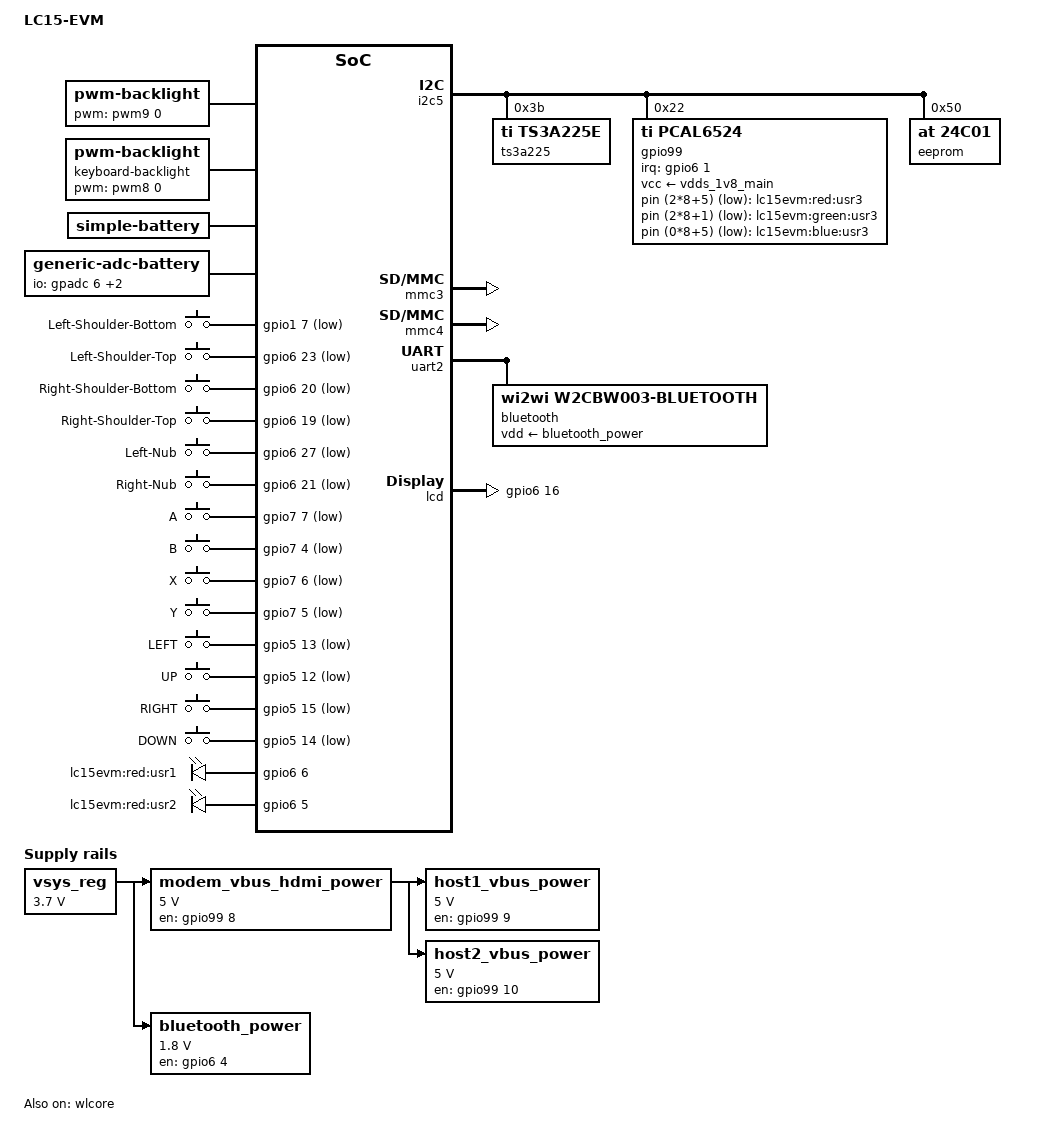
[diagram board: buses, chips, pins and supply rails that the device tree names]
/*
 * Copyright (C) 2018 Golden Delicious Computers - http://www.goldelico.com/
 *
 * This program is free software; you can redistribute it and/or modify
 * it under the terms of the GNU General Public License version 2 as
 * published by the Free Software Foundation.
 */

#include <dt-bindings/input/input.h>
#include <dt-bindings/power/power.h>

/ {
	/* overwrite device model */
	model = "LC15-EVM";

	/* vsys supply */
	vsys_reg: vsys_reg {
		compatible = "regulator-fixed";
		regulator-name = "vsys";
		regulator-min-microvolt = <3700000>;
		regulator-max-microvolt = <3700000>;
		regulator-always-on;
	};

	/* common DC/DC converter for USB Host ports, Modem USB and HDMI 5V */
	modem_vbus_hdmi_power: tps2505_reg {
		compatible = "regulator-fixed";
		regulator-name = "modem_vbus_hdmi_power";
		regulator-min-microvolt = <5000000>;
		regulator-max-microvolt = <5000000>;
		gpio = <&gpio99 8 GPIO_ACTIVE_HIGH>;
		enable-active-high;
		startup-delay-us = <70000>;
		vin-supply = <&vsys_reg>;
		regulator-always-on;
	};

	/* this are the DC/DC converters that supply the
	   5V to USB devices connected to the Host ports.
	   They should be under the (software) control
	   of the USB3503A hub on the CPU board */

	host1_vbus_power: host1_vbus_power_reg {
		compatible = "regulator-fixed";
		regulator-name = "host1_vbus_power";
		regulator-min-microvolt = <5000000>;
		regulator-max-microvolt = <5000000>;
		gpio = <&gpio99 9 GPIO_ACTIVE_HIGH>;
		enable-active-high;
		startup-delay-us = <70000>;
		vin-supply = <&modem_vbus_hdmi_power>;
		regulator-always-on;
	};

	host2_vbus_power: host2_vbus_power_reg {
		compatible = "regulator-fixed";
		regulator-name = "host2_vbus_power";
		regulator-min-microvolt = <5000000>;
		regulator-max-microvolt = <5000000>;
		gpio = <&gpio99 10 GPIO_ACTIVE_HIGH>;
		enable-active-high;
		startup-delay-us = <70000>;
		vin-supply = <&modem_vbus_hdmi_power>;
		regulator-always-on;
	};

	bluetooth_power: bt_en {
		compatible = "regulator-fixed";
		pinctrl-names = "default";
		pinctrl-0 = <&bt_pins>;
		regulator-name = "bt_power";
		regulator-min-microvolt = <1800000>;
		regulator-max-microvolt = <1800000>;
		gpio = <&gpio6 4 GPIO_ACTIVE_HIGH>;	/* GPIO6_164 */
		enable-active-high;
		startup-delay-us = <70000>;
		vin-supply = <&vsys_reg>;
	};

	/* backlight is here as demo code */

#define BACKLIGHT_FREQ_HZ	83

	backlight {
		compatible = "pwm-backlight";
		pwms = <&pwm9 0 (1000000000 / BACKLIGHT_FREQ_HZ) 0>;
		pwm-names = "backlight";
		brightness-levels = <0 5 7 10 12 14 17 20 25 30 35 40 50 65 80 100>;
		default-brightness-level = <14>;	/* 80% */
		pinctrl-names = "default";
		pinctrl-0 = <&backlight_pins>;
	};

	pwm9: dmtimer-pwm@9 {
		compatible = "ti,omap-dmtimer-pwm";
		ti,timers = <&timer9>;
		#pwm-cells = <3>;
	};

	keyboard-backlight {
		compatible = "pwm-backlight";
		pwms = <&pwm8 0 12000000 0>;
		pwm-names = "keyboard";
		brightness-levels = <0 1 2 5 10 20 40 60 100>;
		default-brightness-level = <5>;	/* 20% */
		pinctrl-names = "default";
		pinctrl-0 = <&keyboard_backlight_pins>;
	};

	pwm8: dmtimer-pwm@8 {
		compatible = "ti,omap-dmtimer-pwm";
		ti,timers = <&timer8>;
		#pwm-cells = <3>;
	};

	/* battery is here as demo code */
	bat: battery {
		compatible = "simple-battery", "pyra-battery";
		voltage-min-design-microvolt = <3200000>;
		energy-full-design-microwatt-hours = <22200000>;
		charge-full-design-microamp-hours = <6000000>;
	};

	battery: battery-monitor {
		compatible = "linux,generic-adc-battery";
		io-channels = <&gpadc 6>, <&gpadc 11>, <&gpadc 1>;
		io-channel-names = "voltage", "current", "temperature";
		monitored-battery = <&bat>;
		technology = <POWER_SUPPLY_TECHNOLOGY_LION>;
		battery-name = "pyra-battery";
		charge_full_design = <6000000>;
		charge_empty_design = <00>;
		voltage_min_design = <3200000>;
		voltage_max_design = <4200000>;
	};

	/* buttons and LEDs */
	user-button {
		/* is bound to gpio1_wk7 which we want to reassign */
		/delete-node/ BOOTSEL;
	};

	/* gpios where we could connect buttons to */
	gpio-keys@1 {
		compatible = "gpio-keys";

		#address-cells = <7>;
		#size-cells = <0>;

		left_shoulder_bottom {
			label = "Left-Shoulder-Bottom";
			linux,code = <KEY_RIGHTSHIFT>;
			gpios = <&gpio1 7 GPIO_ACTIVE_LOW>;	/* gpio1_wk7 */
			gpio-key,wakeup;
		};

		left_shoulder_top {
			label = "Left-Shoulder-Top";
			linux,code = <KEY_RIGHTMETA>;
			gpios = <&gpio6 23 GPIO_ACTIVE_LOW>;	/* gpio6_183 */
			gpio-key,wakeup;
		};

		right_shoulder_bottom {
			label = "Right-Shoulder-Bottom";
			linux,code = <KEY_RIGHTCTRL>;
			gpios = <&gpio6 20 GPIO_ACTIVE_LOW>;	/* gpio6_180 */
			gpio-key,wakeup;
		};

		right_shoulder_top {
			label = "Right-Shoulder-Top";
			linux,code = <KEY_RIGHTALT>;
			gpios = <&gpio6 19 GPIO_ACTIVE_LOW>;	/* gpio6_179 */
			gpio-key,wakeup;
		};

		left_nub {
			label = "Left-Nub";
			linux,code = <BTN_RIGHT>;
			gpios = <&gpio6 27 GPIO_ACTIVE_LOW>;	/* gpio6_187 */
			gpio-key,wakeup;
		};

		right_nub {
			label = "Right-Nub";
			linux,code = <BTN_LEFT>;
			gpios = <&gpio6 21 GPIO_ACTIVE_LOW>;	/* gpio6_181 */
			gpio-key,wakeup;
		};

		button_a {
			label = "A";
			linux,code = <KEY_HOME>;
			gpios = <&gpio7 7 GPIO_ACTIVE_LOW>;	/* gpio7_199 */
			gpio-key,wakeup;
		};

		button_b {
			label = "B";
			linux,code = <KEY_END>;
			gpios = <&gpio7 4 GPIO_ACTIVE_LOW>;	/* gpio7_196 */
			gpio-key,wakeup;
		};

		button_x {
			label = "X";
			linux,code = <KEY_PAGEDOWN>;
			gpios = <&gpio7 6 GPIO_ACTIVE_LOW>;	/* gpio7_198 */
			gpio-key,wakeup;
		};

		button_y {
			label = "Y";
			linux,code = <KEY_PAGEUP>;
			gpios = <&gpio7 5 GPIO_ACTIVE_LOW>;	/* gpio7_197 */
			gpio-key,wakeup;
		};

		dpad_left {
			label = "LEFT";
			linux,code = <KEY_LEFT>;
			gpios = <&gpio5 13 GPIO_ACTIVE_LOW>;	/* gpio5_141 */
			gpio-key,wakeup;
		};

		dpad_up {
			label = "UP";
			linux,code = <KEY_UP>;
			gpios = <&gpio5 12 GPIO_ACTIVE_LOW>;	/* gpio5_140 */
			gpio-key,wakeup;
		};

		dpad_right {
			label = "RIGHT";
			linux,code = <KEY_RIGHT>;
			gpios = <&gpio5 15 GPIO_ACTIVE_LOW>;	/* gpio5_143 */
			gpio-key,wakeup;
		};

		dpad_down {
			label = "DOWN";
			linux,code = <KEY_DOWN>;
			gpios = <&gpio5 14 GPIO_ACTIVE_LOW>;	/* gpio5_142 */
			gpio-key,wakeup;
		};
	};

	leds {
		compatible = "gpio-leds";

		usr@2 { /* FM-EN */
			label = "lc15evm:red:usr1";
			gpios = <&gpio6 6 GPIO_ACTIVE_HIGH>;
			linux,default-trigger = "heartbeat";
			default-state = "off";
		};

		usr2@1 { /* SPEAKER-EN */
			label = "lc15evm:red:usr2";
			gpios = <&gpio6 5 GPIO_ACTIVE_HIGH>;
			linux,default-trigger = "cpu";
			default-state = "off";
		};

		usr3@3r { /* P25 */
			label = "lc15evm:red:usr3";
			gpios = <&gpio99 (2*8+5) (GPIO_ACTIVE_LOW | GPIO_OPEN_DRAIN)>;
			linux,default-trigger = "mmc0";
			default-state = "off";
		};

		usr@3g { /* P21 */
			label = "lc15evm:green:usr3";
			gpios = <&gpio99 (2*8+1) (GPIO_ACTIVE_LOW | GPIO_OPEN_DRAIN)>;
			linux,default-trigger = "mmc1";
			default-state = "off";
		};

		usr@3b { /* P05 */
			label = "lc15evm:blue:usr3";
			gpios = <&gpio99 (0*8+5) (GPIO_ACTIVE_LOW | GPIO_OPEN_DRAIN)>;
			linux,default-trigger = "mmc2";
			default-state = "off";
		};
	};

};

&omap5_pmx_core {

	pinctrl-0 = <
			/* copied from original */
			&usbhost_pins
			&led_gpio_pins

			/* new entries */
			&button_pins
			&other_pins
	>;

/* to find pinmux register offsets, see section A.7.2 in TRM

   note: offsets in the table are relative to 0x4a00 2800
   but reg = <0x4a002840 0x01b6> for omap5_pmx_core

   Therefore gpio5_153 with Address Offset 0x1D4
   translates into 0x194 (0xd0-0x40 => 0x90)
   and because it has [31:16] we have to add 0x02
   giving a result of 0x196.

   Definitions for bit patterns:
   0x0007	MUX_MODE0 .. MUX_MODE7
   0x0008	enable pull up/down
   0x0010	select pull up
   0x0020	disable power for I/O cell
   0x0100	enable input buffer (there is no explicit "enable output buffer" because that is defined by the GPIO direction)
   0x4000	enable wakeup detection

   or use the OMAP5_IOPAD() macros to do the conversion. You still have to look
   up the pin and register address offset in the TRM.
*/

	button_pins: pinmux_button_gpio_pins {
		pinctrl-single,pins = <
			OMAP5_IOPAD(0x1bc, PIN_INPUT_PULLUP | MUX_MODE6)	/* 0x1BC:[15:0] gpio5_140 - U */
			OMAP5_IOPAD(0x1be, PIN_INPUT_PULLUP | MUX_MODE6)	/* 0x1BC:[31:16] gpio5_141 - L */
			OMAP5_IOPAD(0x1c0, PIN_INPUT_PULLUP | MUX_MODE6)	/* 0x1C0:[15:0] gpio5_142 - D */
			OMAP5_IOPAD(0x1c2, PIN_INPUT_PULLUP | MUX_MODE6)	/* 0x1C0:[31:16] gpio5_143 - R */
			OMAP5_IOPAD(0x108, PIN_INPUT_PULLUP | MUX_MODE6)	/* 0x108:[15:0]  gpio6_179 - rsh-top */
			OMAP5_IOPAD(0x106, PIN_INPUT_PULLUP | MUX_MODE6)	/* 0x104:[31:16] gpio6_180 - rsh-bot */
			OMAP5_IOPAD(0x104, PIN_INPUT_PULLUP | MUX_MODE6)	/* 0x104:[15:0]  gpio6_181 - right nub */
			OMAP5_IOPAD(0x132, PIN_INPUT_PULLUP | MUX_MODE6)	/* 0x130:[31:16] gpio6_183 - lsh-top */
			OMAP5_IOPAD(0x13a, PIN_INPUT_PULLUP | MUX_MODE6)	/* 0x138:[31:16]  gpio6_187 - left nub */
			OMAP5_IOPAD(0x102, PIN_INPUT_PULLUP | MUX_MODE6)	/* 0x100:[31:16] gpio7_196 - B */
			OMAP5_IOPAD(0x0fc, PIN_INPUT_PULLUP | MUX_MODE6)	/* 0x0FC:[15:0] gpio7_197 - Y */
			OMAP5_IOPAD(0x0fe, PIN_INPUT_PULLUP | MUX_MODE6)	/* 0x0FC:[31:16] gpio7_198 - X */
			OMAP5_IOPAD(0x100, PIN_INPUT_PULLUP | MUX_MODE6)	/* 0x100:[15:0] gpio7_199 - A */
		>;
	};

	other_pins: pinmux_other_gpio_pins {
		pinctrl-single,pins = <
/* gpio 3_84-87 = BT HCI uart2 */
/* gpio 4_97-100 = GSM PCM mcbsp3 */
/* gpio 4_101-104 = BT PCM mcbsp1 */
/* gpio 4_105-107 = FM/DAC PCM mcbsp2 */
/* gpio 5_128-133 = mmc3 = wifi dsio */
/* gpio 5_134-137 = mmc4 = right SD slot */
			OMAP5_IOPAD(0x1c4, PIN_INPUT_PULLUP | MUX_MODE6)	/* 0x1C4:[15:0]  gpio5_144 - reset I2C peripherals */
/* gpio 5_155-156 = mmc4 = right SD slot / uart3 debug */
			OMAP5_IOPAD(0x12c, PIN_INPUT | MUX_MODE6)	/* 0x12C:[15:0]  gpio6_160 - revision 1 */
			OMAP5_IOPAD(0x12e, PIN_INPUT_PULLUP | MUX_MODE6)	/* 0x12C:[31:16]  gpio6_161 - TCA6424 active low interrupt */

/* next should be outputs and controlled by some driver (e.g. regulator-fixed) */
			OMAP5_IOPAD(0x128, PIN_OUTPUT | MUX_MODE6)	/* 0x128:[15:0]  gpio6_165 - Speaker EN */
			OMAP5_IOPAD(0x122, PIN_OUTPUT | MUX_MODE6)	/* 0x120:[31:15]  gpio6_166 - FM EN */

/* gpio 5_167-168 = uart3 console - is handled by MLO! */
			OMAP5_IOPAD(0x11c, PIN_INPUT_PULLUP | MUX_MODE6)	/* 0x11C:[15:0]  gpio6_169 - Accelerometer interrupt */
			OMAP5_IOPAD(0x11a, PIN_INPUT_PULLUP | MUX_MODE6)	/* 0x118:[31:16]  gpio6_170 - Magnetometer interrupt */
			OMAP5_IOPAD(0x114, PIN_INPUT_PULLUP | MUX_MODE6)	/* 0x114:[15:0]  gpio6_173 - touch screen penirq */
			OMAP5_IOPAD(0x112, PIN_INPUT_PULLUP | MUX_MODE6)	/* 0x110:[31:16]  gpio6_174 - right NUB int */
			OMAP5_IOPAD(0x110, PIN_INPUT_PULLUP | MUX_MODE6)	/* 0x110:[15:0]  gpio6_175 - left NUB int */
			OMAP5_IOPAD(0x10c, PIN_INPUT_PULLUP | MUX_MODE6)	/* 0x10C:[15:0]  gpio6_177 - keyboard int */
			OMAP5_IOPAD(0x10a, PIN_INPUT_PULLUP | MUX_MODE6)	/* 0x108:[31:16]  gpio6_178 - fm int */
			OMAP5_IOPAD(0x130, PIN_INPUT | MUX_MODE6)	/* 0x130:[15:0]  gpio6_182 - revision 2 */
			OMAP5_IOPAD(0x136, PIN_INPUT | MUX_MODE6)	/* 0x134:[31:16]  gpio6_185 - revision 3 */
			OMAP5_IOPAD(0x138, PIN_INPUT_PULLUP | MUX_MODE6)	/* 0x138:[15:0]  gpio6_186 - Gyroscope interrupt */
/* gpio 8_228-229 = mmc1 = left SD slot WP/CD */
		>;
	};

	modem_pins: pinmux_modem_gpio_pins {
		pinctrl-single,pins = <
			OMAP5_IOPAD(0x118, PIN_OUTPUT_PULLDOWN | MUX_MODE6)	/* 0x118:[15:0]  gpio6_171 - modem ignite */
			OMAP5_IOPAD(0x116, PIN_INPUT | MUX_MODE6)	/* 0x114:[31:16]  gpio6_172 - modem power indication */
		>;
	};

	backlight_pins: pinmux_backlight_pins {
		pinctrl-single,pins = <
			/* MUX_MODE0 for PWM_TIMER9, MUX_MODE6 for GPIO, MUX_MODE7 if panel provides the PWM signal */
			OMAP5_IOPAD(0x0f6, PIN_OUTPUT_PULLDOWN | MUX_MODE0)	/* 0x0F4:[31:16] timer9/gpio6_190 */
		>;
	};

	keyboard_backlight_pins: pinmux_keyboard_backlight_pins {
		pinctrl-single,pins = <
			/* MUX_MODE0 for PWM_TIMER8, MUX_MODE6 for GPIO */
			OMAP5_IOPAD(0x178, PIN_OUTPUT_PULLDOWN | MUX_MODE0)	/* 0x178:[15:0] timer8/gpio8_230 */
		>;
	};

};

&omap5_pmx_wkup {

	letux_wkup_pins: pinmux_wkup_pins {
		pinctrl-single,pins = <
			OMAP5_IOPAD(0x078, PIN_OUTPUT | MUX_MODE6)	/* 0x078:[15:0]  gpio1_wkout4 - second LED on CPU board */
			OMAP5_IOPAD(0x046, WAKEUP_EN | PIN_INPUT | MUX_MODE6)	/* 0x044:[31:16]  gpio1_wk7 - boot select input */
		>;
	};

	lid_pin: pinmux_lid_pin {
		pinctrl-single,pins = <
			OMAP5_IOPAD(0x044, WAKEUP_EN | PIN_INPUT_PULLUP | MUX_MODE6)	/* 0x044:[15:0] gpio1_wk6 - lid */
		>;
	};

	wwan_pins: pinmux_wwan_pins {
		pinctrl-single,pins = <
			OMAP5_IOPAD(0x042, WAKEUP_EN | PIN_INPUT_PULLUP | MUX_MODE6)	/* 0x040:[31:16] gpio1_wk15 - modem wakeup */
		>;
	};
};

/* register devices connected to Peripheral-I2C */
&i2c2 {

};

/* register devices connected to Sensor-I2C */
&i2c3 {

};

/* register devices connected to System-I2C */
&i2c5 {
	/* microphone detect */
	ts3a225@3b {
		compatible = "ti,ts3a225e";
		reg = <0x3b>;
//		interrupt-parent = <&gpio99>;
//		interrupts = <14 IRQ_TYPE_LEVEL_LOW>;
		ti,micbias = <0>;	/* 2.1V */
	};

	/* system/keyboard-led and other controls */
	gpio99: tca6424@22 {
//		compatible = "ti,tca6424";
		compatible = "ti,pcal6524";
		interrupt-parent = <&gpio6>;
//		interrupts = <1 IRQ_TYPE_LEVEL_LOW>;	/* gpio6_161 */
		interrupts = <1 IRQ_TYPE_EDGE_FALLING>;	/* gpio6_161 */
		interrupt-controller;
		#interrupt-cells = <2>;
		vcc-supply = <&vdds_1v8_main>;

		reg = <0x22>;
		gpio-controller;
		#gpio-cells = <2>;
		gpio-line-names =
			"hdmi-ct-hpd", "hdmi.ls-oe", "p02", "p03", "p04", "fault2", "p06", "p07",
			"en-usb", "en-host1", "en-host2", "p13", "p14", "p15", "mic-int", "p17",
			"p20", "p21", "p22", "blue", "p24", "fault1", "p26", "p27";
	};

	eeprom@50 {
		compatible = "at,24c01";
		reg = <0x50>;
	};
};

&tpd12s015 {
	compatible = "ti,tpd12s015";
	gpios = <&gpio99 0 GPIO_ACTIVE_HIGH>,	/* TCA6424A P01, CT CP HPD */
		<&gpio99 1 GPIO_ACTIVE_HIGH>,	/* TCA6424A P00, LS OE */
		<&gpio7 1 GPIO_ACTIVE_HIGH>;	/* GPIO 193, HPD */
};

/* used in gpio mode for shoulder buttons etc. */

&mcspi1 {
	status = "disabled";
};

&mcspi2 {
	status = "disabled";
};

/*
 * configure WLAN/Bluetooth module - http://processors.wiki.ti.com/index.php/WL18xx_Platform_Integration_Guide#For_kernels_with_device_tree_support
 * and see http://lxr.free-electrons.com/source/Documentation/devicetree/bindings/net/wireless/ti,wlcore.txt
 */

&wlan_pins {
	status = "okay";
	pinctrl-single,pins = <
		OMAP5_IOPAD(0x126, PIN_OUTPUT | MUX_MODE6)	/* 0x124:[31:16]  gpio6_163 - WLAN EN */
	>;
};

&vmmcsdio_fixed {
	gpio = <&gpio6 3 GPIO_ACTIVE_HIGH>;	/* GPIO6_163 */
};

&mmc3 { /* we have a WLAN module on mmc3 */
	status = "okay";
};

&wlcore {
	status = "okay";
	compatible = "ti,wl1835";	/* or "ti,wl1837" */
};

&mmc4 { /* enable second (µ)SD slot (SDIO capable) */
	status = "okay";
};

&omap5_pmx_core {
	bt_pins: pinmux_bt_pins {
		pinctrl-single,pins = <
			OMAP5_IOPAD(0x12a, PIN_OUTPUT | MUX_MODE6)	/* 0x128:[31:16]  gpio6_164 - BT EN */
		>;
	};

};

&uart2 {
	bluetooth: tiwi {
		/* we can (mis)use the w2cbw power control driver */
		compatible = "wi2wi,w2cbw003-bluetooth";
		vdd-supply = <&bluetooth_power>;
	};
};

/* rearrange to use gpio6_167/168 for console UART3 instead of sdio4_cmd/clk */

&uart3_pins {
	pinctrl-single,pins = <
		OMAP5_IOPAD(0x11e, PIN_OUTPUT | MUX_MODE4) /* uart3_tx_irtx gpio6_168 */
		OMAP5_IOPAD(0x120, PIN_INPUT_PULLUP | MUX_MODE4) /* uart3_rx_irrx gpio6_167 */
	>;
};

&uart3 {
	interrupts-extended = <&wakeupgen GIC_SPI 74 IRQ_TYPE_LEVEL_HIGH>,
			      <&omap5_pmx_core 0xe0>;
};

&twl6040 {
	vddvibl-supply = <&vsys_reg>;
	vddvibr-supply = <&vsys_reg>;

	vibra {
		ti,vibldrv-res = <8>;
		ti,vibrdrv-res = <3>;
		ti,viblmotor-res = <32>;
		ti,vibrmotor-res = <999999>;	/* no motor */
	};
};

/* we do use the Palmas OTG step-up converter */

&smps10_out1_reg {
	/* do not turn on until we have done more tests to be sure that it is safe */
	status = "disabled";
};

/* LCD panel - MIPI */

&mipi_display_pins {
	pinctrl-single,pins = <
		OMAP5_IOPAD(0x124, PIN_OUTPUT_PULLUP | MUX_MODE6)	/* 0x124:[0:15] gpio6_162 - enable panel DC/DC */
		OMAP5_IOPAD(0x10e, PIN_OUTPUT_PULLDOWN | MUX_MODE6)	/* 0x10c:[31:16] gpio6_176 - panel reset */
		>;
};

&lcd {
	compatible = "boe,btl507212-w677l";
	gpios = <&gpio6 16 0>;	/* goip6_176 = panel reset */
};
